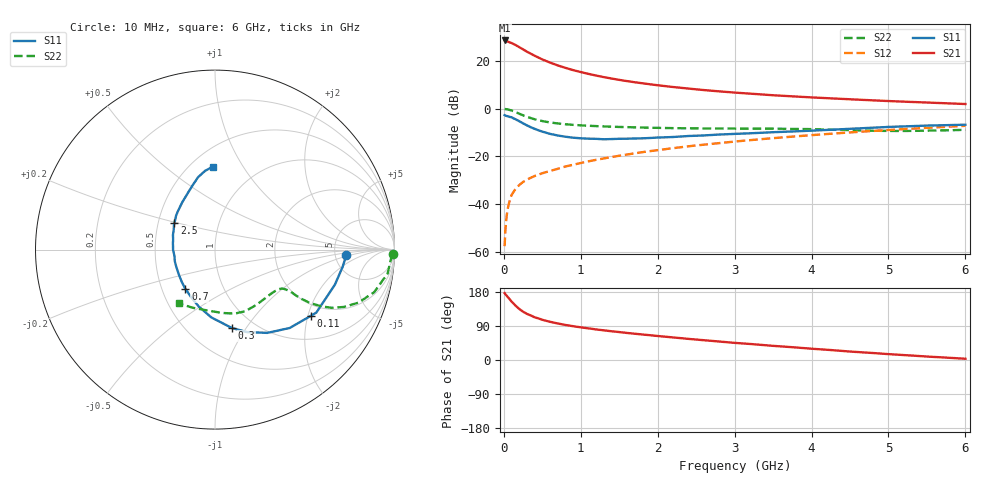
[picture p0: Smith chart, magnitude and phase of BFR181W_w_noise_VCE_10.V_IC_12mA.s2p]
! (c) 2017  Infineon Technologies AG, Munich
! Infineon Technologies  Discrete & RF Semiconductors
! BFR181W
! VCE =  10. V,  IC =  12 mA
! Common Emitter S-Parameters:  Jan 2017
# GHz  S  MA  R  50
!  f  S11  S21  S12  S22
! GHz  MAG  ANG  MAG  ANG  MAG  ANG  MAG  ANG
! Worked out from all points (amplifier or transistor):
!   77 points, 10 MHz to 6 GHz, reference 50 ohm
!   highest |S21| = 28.7 dB at 10 MHz (marker M1)
!   |S21| within 3 dB of that: start of sweep to 210.1 MHz
!   unconditionally stable (mu >= 1): 998.8 MHz to 2.945 GHz
!   at 130 MHz: K = 0.29, MSG = 30.9 dB, |S12| = -34.8 dB
!   at 2.2 GHz: K = 1.05, MAG = 11.5 dB, |S12| = -16.6 dB
!   at 6 GHz: K = 0.85, MSG = 4.6 dB, |S12| = -7.2 dB
!   lowest NFmin = 1.34 dB at 450 MHz
!   S11 on the Smith chart (normalised r, x): 10 MHz: 6.39, -0.78; 110 MHz: 1.64, -2.09; 300 MHz: 0.79, -0.86; 700 MHz: 0.66, -0.31; 2.5 GHz: 0.61, +0.20; 6 GHz: 0.64, +0.75
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0.01  0.7329 -2.2  27.14 176.6  0.0013 83.4  0.9901 -1.4
0.02  0.7176 -7.7  26.52 173.6  0.0028 92.3  0.9826 -2.8
0.05  0.6959 -16.3  25.82 166.4  0.0078 79.0  0.9708 -7.9
0.1  0.6646 -31.9  24.05 154.2  0.0153 76.1  0.9179 -15.0
0.11  0.6492 -34.6  23.56 152.3  0.0163 74.8  0.9041 -16.0
0.15  0.6032 -46.4  21.93 143.8  0.0204 70.8  0.8521 -20.3
0.2  0.5478 -57.9  19.64 134.8  0.025 69.0  0.7858 -24.0
0.25  0.4928 -68.8  17.62 127.5  0.029 65.0  0.7268 -26.5
0.3  0.447 -77.8  15.77 121.7  0.0324 63.2  0.6749 -28.0
0.4  0.3787 -93.0  12.95 112.7  0.0386 63.2  0.6012 -29.4
0.5  0.3307 -105.7  10.84 106.1  0.0442 62.9  0.5507 -29.7
0.6  0.297 -116.5  9.314 100.8  0.0493 63.6  0.5154 -29.5
0.7  0.2743 -126.9  8.129 96.4  0.0547 65.4  0.4908 -29.2
0.9  0.2466 -143.7  6.472 89.2  0.0666 65.9  0.4585 -29.3
1.1  0.2352 -157.9  5.389 83.5  0.0786 67.3  0.4393 -29.8
1.5  0.2337 -179.8  4.04 73.7  0.1031 68.1  0.4144 -32.6
2.1  0.2513 157.5  2.983 61.5  0.1417 67.0  0.3939 -40.3
2.5  0.271 146.4  2.557 54.0  0.1693 65.6  0.3867 -47.0
3.1  0.3004 132.5  2.129 43.8  0.2116 62.5  0.3823 -57.2
4.1  0.3523 115.0  1.698 28.4  0.2864 55.9  0.3688 -74.7
5.1  0.4199 101.8  1.429 14.3  0.365 47.7  0.3412 -99.4
6  0.4619 91.5  1.256 3.3  0.4377 39.3  0.3613 -124.0
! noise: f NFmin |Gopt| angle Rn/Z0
0.45  1.34  0.1  16  0.21
0.9  1.38  0.1  32  0.21
1.9  1.82  0.07  -151  0.21
2.4  2.01  0.08  -113  0.26
